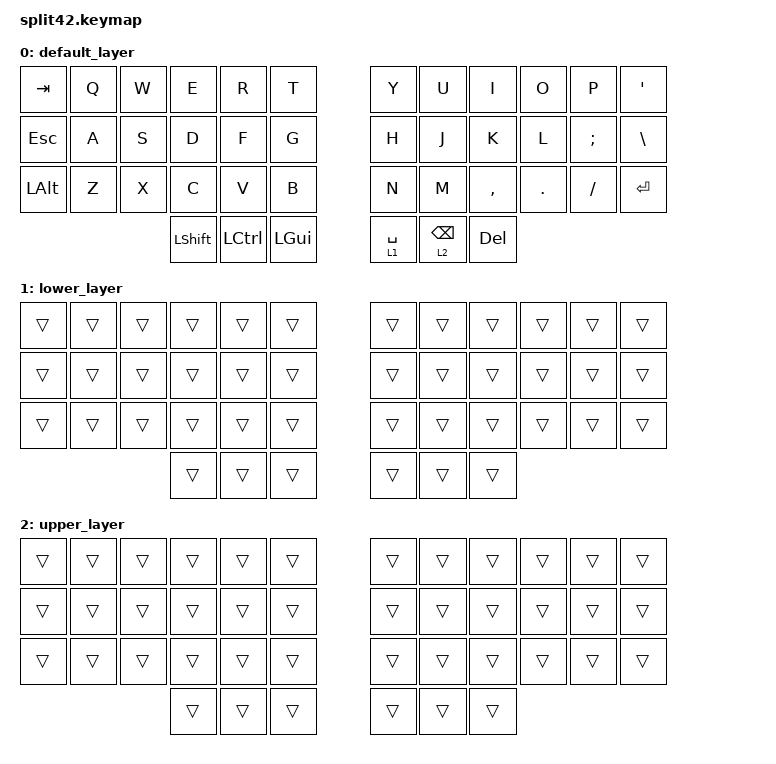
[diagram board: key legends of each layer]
#include <behaviors.dtsi>
#include <dt-bindings/zmk/keys.h>
#include <dt-bindings/zmk/outputs.h>

#define SPC_L1 &lt 1 SPACE
#define BSPC_L2 &lt 2 BSPC

/ {
    keymap {
        compatible = "zmk,keymap";

        default_layer {
            bindings = <
&kp TAB   &kp Q     &kp W     &kp E     &kp R     &kp T            &kp Y     &kp U     &kp I     &kp O    &kp P     &kp SQT
&kp ESC   &kp A     &kp S     &kp D     &kp F     &kp G            &kp H     &kp J     &kp K     &kp L    &kp SEMI  &kp BSLH
&kp LALT  &kp Z     &kp X     &kp C     &kp V     &kp B            &kp N     &kp M     &kp COMMA &kp DOT  &kp FSLH  &kp RET
                              &kp LSHFT &kp LCTRL &kp LGUI         SPC_L1    BSPC_L2   &kp DEL
            >;
        };
            
        lower_layer {
            bindings = <
&trans   &trans   &trans   &trans   &trans   &trans            &trans   &trans   &trans   &trans   &trans   &trans
&trans   &trans   &trans   &trans   &trans   &trans            &trans   &trans   &trans   &trans   &trans   &trans
&trans   &trans   &trans   &trans   &trans   &trans            &trans   &trans   &trans   &trans   &trans   &trans
                           &trans   &trans   &trans            &trans   &trans   &trans
            >;
        };
            
        upper_layer {
            bindings = <
&trans   &trans   &trans   &trans   &trans   &trans            &trans   &trans   &trans   &trans   &trans   &trans
&trans   &trans   &trans   &trans   &trans   &trans            &trans   &trans   &trans   &trans   &trans   &trans
&trans   &trans   &trans   &trans   &trans   &trans            &trans   &trans   &trans   &trans   &trans   &trans
                           &trans   &trans   &trans            &trans   &trans   &trans
            >;
        };
    };
};
